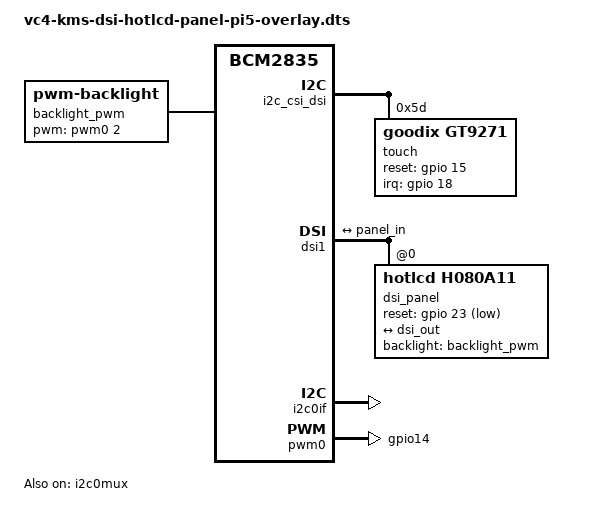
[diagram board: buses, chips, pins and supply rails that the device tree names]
/*
 * vc4-kms-dsi-hotlcd-panel-pi5-overlay.dts
 * 树莓派5版本：背光使用 PWM 调光（PWM0, GPIO14）
 */

/dts-v1/;
/plugin/;

/ {
	compatible = "brcm,bcm2835";

	i2c_frag: fragment@0 {
		target = <&i2c_csi_dsi>;
		__overlay__ {
			#address-cells = <1>;
			#size-cells = <0>;
			status = "okay";

			touch: goodix@5d {
                compatible = "goodix,gt9271";
				reg = <0x5d>;

                pinctrl-names = "default";
                pinctrl-0 = <&tprst_pin &tpint_pin>;

				interrupt-parent = <&gpio>;
				interrupts = <18 2>; // high-to-low edge triggered
				reset-gpios = <&gpio 15 0>;
                irq-gpios = <&gpio 18 0>;
			};
		};
	};

	dsi_frag: fragment@1 {
		target = <&dsi1>;
		__overlay__  {
			#address-cells = <1>;
			#size-cells = <0>;
			status = "okay";

			port {
				dsi_out: endpoint {
					remote-endpoint = <&panel_in>;
				};
			};

			dsi_panel: dsi_panel@0 {
				compatible = "hotlcd,h080a11";
				reg = <0>;

                pinctrl-names = "default";
                pinctrl-0 = <&rst_pin>;

				reset-gpios = <&gpio 23 1>;

				// backlight = <&backlight_gpio>;
				backlight = <&backlight_pwm>;

				port {
					panel_in: endpoint {
						remote-endpoint = <&dsi_out>;
					};
				};
			};
		};
	};

	fragment@2 {
		target = <&i2c0if>;
		__overlay__ {
			status = "okay";
		};
	};

	fragment@3 {
		target = <&i2c0mux>;
		__overlay__ {
			status = "okay";
		};
	};

    fragment@4 {
        target = <&gpio>;
		__overlay__ {
            rst_pin: rst_pin{
                brcm,pins = <23>;
                brcm,function = <1>; /* output */
				brcm,pull = <0>; // off
            };
            tprst_pin: tprst_pin{
                brcm,pins = <15>;
                brcm,function = <1>; //out
				brcm,pull = <0>; // off
            };
            tpint_pin: tpint_pin{
                brcm,pins = <18>;
                brcm,function = <0>; //in
				brcm,pull = <0>; // off
            };
            backlight_pin: backlight_pin{
                function = "pwm0";
				pins = "gpio14";
				bias-disable;
            };
		};
    };

    fragment@5 {
        target-path = "/";
        __dormant__ {
            backlight_gpio: backlight_gpio {
                compatible = "gpio-backlight";

                pinctrl-names = "default";
                pinctrl-0 = <&backlight_pin>;

                gpios = <&gpio 14 0>;
            };
        };
    };

    fragment@6 {
        target-path = "/";
        __overlay__ {
            backlight_pwm: backlight_pwm {
                compatible = "pwm-backlight";
                pwms = <&pwm0 2 50000 0>;
                brightness-levels = <
                    0  1  2  3  4  5  6  7
                    8  9  10  11  12  13  14  15
                    16  17  18  19  20  21  22  23
                    24  25  26  27  28  29  30  31
                    32  33  34  35  36  37  38  39
                    40  41  42  43  44  45  46  47
                    48  49  50  51  52  53  54  55
                    56  57  58  59  60  61  62  63
                    64  65  66  67  68  69  70  71
                    72  73  74  75  76  77  78  79
                    80  81  82  83  84  85  86  87
                    88  89  90  91  92  93  94  95
                    96  97  98  99  100>;
                default-brightness-level = <80>;
            };
        };
    };

    fragment@7 {
        target = <&pwm0>;
        __overlay__ {
            pinctrl-names = "default";
			pinctrl-0 = <&backlight_pin>;
            status = "okay";
        };
    };

	__overrides__ {
		h042a01 = <&dsi_panel>, "compatible=hotlcd,h042a01";
		h043a8 = <&dsi_panel>, "compatible=hotlcd,h043a8";
		h070a23 = <&dsi_panel>, "compatible=hotlcd,h070a23";
		h080a11 = <&dsi_panel>, "compatible=hotlcd,h080a11";
        			// <&touch>, "touchscreen-swapped-x-y",
				    // <&touch>, "touchscreen-inverted-y";

		disable_touch = <&touch>, "status=disabled";
		invx = <&touch>,"touchscreen-inverted-x?";
		invy = <&touch>,"touchscreen-inverted-y?";
		swapxy = <&touch>,"touchscreen-swapped-x-y?";
		dsi0 = <&dsi_frag>, "target:0=",<&dsi0>,
			   <&i2c_frag>, "target:0=",<&i2c_csi_dsi0>;
        brightness = <&backlight_pwm>,"default-brightness-level:0";
	};
};
